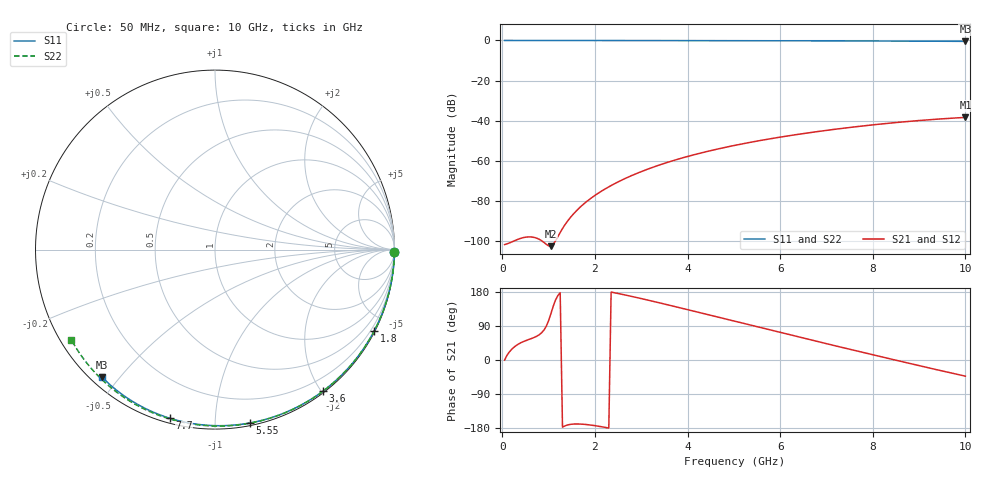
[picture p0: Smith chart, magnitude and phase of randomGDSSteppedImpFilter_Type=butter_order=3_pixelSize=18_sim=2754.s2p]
! freq	dB(S11)	phase(S11)	dB(S12)	phase(S12)
!  dB(S21)	phase(S21)	dB(S22)	phase(S22)
!S-par simulation data
#  GHz  S  DB  R 50
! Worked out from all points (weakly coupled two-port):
!   200 points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, 50 MHz to 10 GHz, reference 50 ohm
!   highest |S21| = -38.32 dB at 10 GHz (marker M1); lowest = -102.4 dB at 1.05 GHz (marker M2)
!   lowest |S11| = -0.5 dB at 10 GHz (marker M3), VSWR 38.47, Z = 1.56 - j22.6 ohm
!   |S11| at or under -10 dB: nowhere
!   |S22| runs from -0.5 to 0.0 dB; largest |S21 - S12| = 0
!   S11 on the Smith chart (normalised r, x): 50 MHz: open; 1.8 GHz: 0.04, -4.17; 3.6 GHz: 0.02, -2.02; 5.55 GHz: 0.02, -1.22; 7.7 GHz: 0.02, -0.77; 10 GHz: 0.03, -0.45
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0.05  -0.00 -0.8  -101.66 -0.2  -101.66 -0.2  -0.00 -0.9
0.55  -0.01 -8.3  -97.85 53.1  -97.85 53.1  -0.01 -9.4
1.05  -0.02 -15.8  -102.44 122.3  -102.44 122.3  -0.02 -17.9
1.75  -0.03 -26.2  -81.59 -169.6  -81.59 -169.6  -0.04 -29.6
1.8  -0.03 -26.9  -80.62 -170.1  -80.62 -170.1  -0.04 -30.5
1.85  -0.04 -27.7  -79.70 -170.8  -79.70 -170.8  -0.04 -31.3
2.05  -0.04 -30.6  -76.38 -174.2  -76.38 -174.2  -0.04 -34.6
2.25  -0.04 -33.5  -73.54 -178.4  -73.54 -178.4  -0.05 -37.9
2.55  -0.05 -37.8  -69.87 174.3  -69.87 174.3  -0.05 -42.7
2.95  -0.06 -43.6  -65.78 163.5  -65.78 163.5  -0.06 -49.2
3.4  -0.07 -49.9  -61.96 150.7  -61.96 150.7  -0.07 -56.3
3.6  -0.07 -52.7  -60.47 144.8  -60.47 144.8  -0.08 -59.4
3.9  -0.08 -56.8  -58.41 135.9  -58.41 135.9  -0.09 -64.0
4.3  -0.09 -62.3  -55.97 123.9  -55.97 123.9  -0.10 -70.1
5.05  -0.11 -72.2  -52.10 101.2  -52.10 101.2  -0.12 -81.2
5.55  -0.13 -78.7  -49.90 86.1  -49.90 86.1  -0.14 -88.4
6.1  -0.15 -85.6  -47.77 69.6  -47.77 69.6  -0.17 -96.2
6.7  -0.18 -93.1  -45.71 51.9  -45.71 51.9  -0.20 -104.4
7.7  -0.24 -105.1  -42.79 22.6  -42.79 22.6  -0.27 -117.9
8.35  -0.29 -112.7  -41.21 3.7  -41.21 3.7  -0.32 -126.4
9.2  -0.36 -122.4  -39.51 -20.5  -39.51 -20.5  -0.40 -137.5
10  -0.45 -131.4  -38.32 -42.7  -38.32 -42.7  -0.49 -148.0
